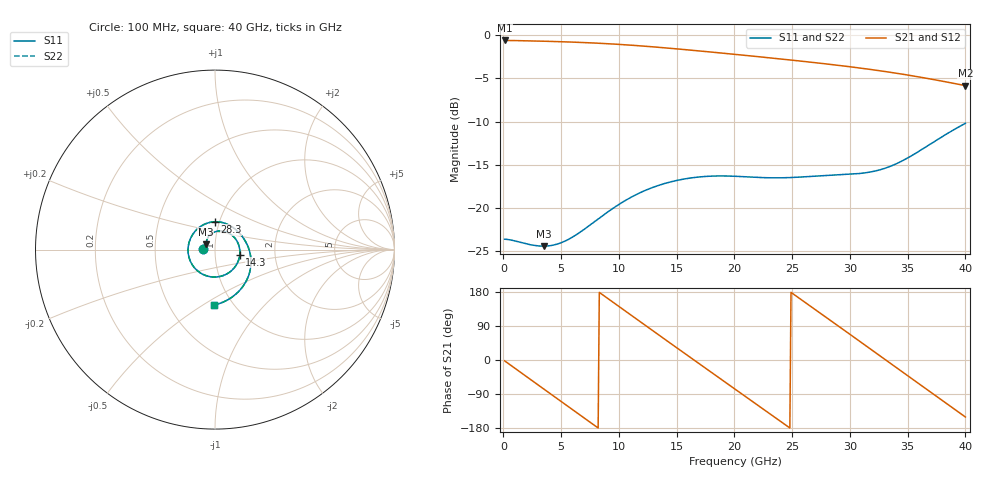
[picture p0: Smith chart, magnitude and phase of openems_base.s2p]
! D_s8_stitch_0p5: L1 (ref L2) → L8 (ref L7), one GND via at 0.5 mm
! stackup: 8-layer 1.6 mm FR-4 (generic)
! ports: 1, 2
! openEMS 0.37.0, staircase, base mesh (dfine 0.035 mm), 882180 cells
# Hz S RI R 50
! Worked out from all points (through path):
!   400 points, 100 MHz to 40 GHz, reference 50 ohm
!   highest |S21| = -0.60 dB at 100 MHz (marker M1); lowest = -5.8 dB at 40 GHz (marker M2)
!   group delay of S21, straight-line fit = 60.3 ps
!   lowest |S11| = -24.4 dB at 3.5 GHz (marker M3), VSWR 1.13, Z = 45 + j2.71 ohm
!   |S11| at or under -10 dB: start of sweep to end of sweep
!   |S22| runs from -24.4 to -10.2 dB; largest |S21 - S12| = 1.1e-05
!   S11 on the Smith chart (normalised r, x): 100 MHz: 0.88, +0.00; 14.3 GHz: 1.32, -0.07; 28.3 GHz: 0.95, +0.30; 40 GHz: 0.81, -0.56
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1e8  -0.0661 0.00133  0.9325 -0.0359  0.9325 -0.0359  -0.0661 0.00133
1.6e9  -0.0604 0.0178  0.7602 -0.5358  0.7602 -0.5358  -0.0604 0.0178
3.5e9  -0.0522 0.03  0.2117 -0.8993  0.2117 -0.8993  -0.0522 0.03
5.1e9  -0.0488 0.0406  -0.3394 -0.8522  -0.3394 -0.8522  -0.0488 0.0406
6.8e9  -0.0432 0.0599  -0.7776 -0.4698  -0.7776 -0.4698  -0.0432 0.0599
8.1e9  -0.0292 0.0804  -0.8993 -0.0428  -0.8993 -0.0428  -0.0292 0.0804
9.5e9  0.00327 0.0998  -0.7867 0.4159  -0.7867 0.4159  0.00327 0.0998
1.15e10  0.0769 0.0919  -0.2765 0.8269  -0.2765 0.8269  0.0769 0.0919
1.34e10  0.1335 0.0212  0.3313 0.7853  0.3313 0.7853  0.1335 0.0212
1.43e10  0.1381 -0.0276  0.5682 0.6218  0.5682 0.6218  0.1381 -0.0276
1.57e10  0.1077 -0.1009  0.7893 0.2447  0.7893 0.2447  0.1077 -0.1009
1.7e10  0.0462 -0.1444  0.7966 -0.1536  0.7966 -0.1536  0.0462 -0.1444
2.01e10  -0.1105 -0.1056  0.1625 -0.7576  0.1625 -0.7576  -0.1105 -0.1056
2.18e10  -0.147 -0.0335  -0.3141 -0.6865  -0.3141 -0.6865  -0.147 -0.0335
2.37e10  -0.142 0.0474  -0.6674 -0.3026  -0.6674 -0.3026  -0.142 0.0474
2.52e10  -0.1122 0.1006  -0.7083 0.1  -0.7083 0.1  -0.1122 0.1006
2.67e10  -0.0647 0.1383  -0.5304 0.4532  -0.5304 0.4532  -0.0647 0.1383
2.83e10  -0.0017 0.1549  -0.1731 0.656  -0.1731 0.656  -0.0017 0.1549
3.12e10  0.1063 0.1192  0.4795 0.4268  0.4795 0.4268  0.1063 0.1192
3.34e10  0.1649 0.054  0.6083 -0.0679  0.6083 -0.0679  0.1649 0.054
3.67e10  0.1946 -0.12  0.1122 -0.5516  0.1122 -0.5516  0.1946 -0.12
4e10  -0.00744 -0.3093  -0.4448 -0.2525  -0.4448 -0.2525  -0.00743 -0.3093
